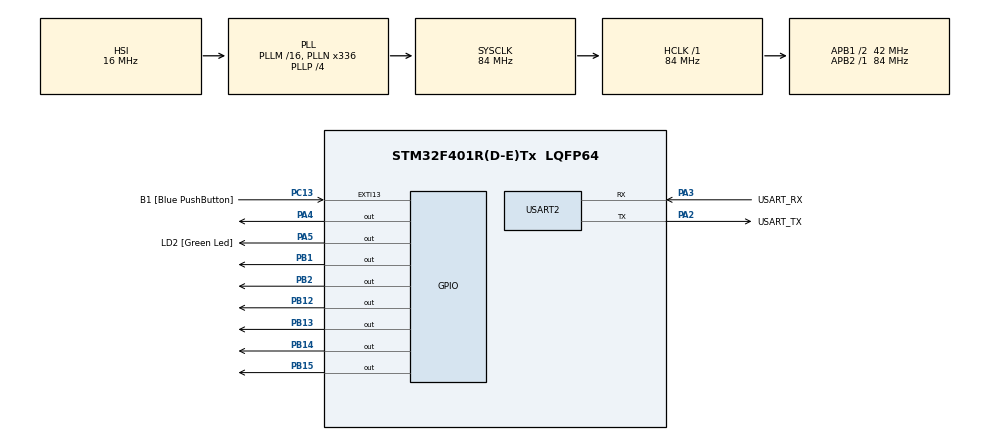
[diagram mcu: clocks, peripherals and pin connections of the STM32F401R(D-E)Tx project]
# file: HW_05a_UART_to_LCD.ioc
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Mcu.Family=STM32F4
Mcu.Name=STM32F401R(D-E)Tx
Mcu.Package=LQFP64
NVIC.PriorityGroup=NVIC_PRIORITYGROUP_0
NVIC.USART2_IRQn=true\:0\:0\:false\:false\:true\:true\:true\:true
PA13.GPIO_Label=TMS
PA13.Mode=Serial_Wire
PA13.Signal=SYS_JTMS-SWDIO
PA14.GPIO_Label=TCK
PA14.Mode=Serial_Wire
PA14.Signal=SYS_JTCK-SWCLK
PA2.GPIO_Label=USART_TX
PA2.GPIO_Mode=GPIO_MODE_AF_PP
PA2.GPIO_PuPd=GPIO_NOPULL
PA2.GPIO_Speed=GPIO_SPEED_FREQ_LOW
PA2.Mode=Asynchronous
PA2.Signal=USART2_TX
PA3.GPIO_Label=USART_RX
PA3.GPIO_Mode=GPIO_MODE_AF_PP
PA3.GPIO_PuPd=GPIO_NOPULL
PA3.GPIO_Speed=GPIO_SPEED_FREQ_LOW
PA3.Mode=Asynchronous
PA3.Signal=USART2_RX
PA4.Signal=GPIO_Output
PA5.GPIO_Label=LD2 [Green Led]
PA5.GPIO_Mode=GPIO_MODE_OUTPUT_PP
PA5.GPIO_PuPd=GPIO_NOPULL
PA5.GPIO_Speed=GPIO_SPEED_FREQ_LOW
PA5.Signal=GPIO_Output
PB1.Signal=GPIO_Output
PB12.Signal=GPIO_Output
PB13.Signal=GPIO_Output
PB14.Signal=GPIO_Output
PB15.Signal=GPIO_Output
PB2.Signal=GPIO_Output
PB3.GPIO_Label=SWO
PB3.Signal=SYS_JTDO-SWO
PC13-ANTI_TAMP.GPIO_Label=B1 [Blue PushButton]
PC13-ANTI_TAMP.GPIO_ModeDefaultEXTI=GPIO_MODE_IT_FALLING
PC13-ANTI_TAMP.GPIO_PuPd=GPIO_NOPULL
PC13-ANTI_TAMP.Signal=GPXTI13
PC14-OSC32_IN.Mode=LSE-External-Oscillator
PC14-OSC32_IN.Signal=RCC_OSC32_IN
PC15-OSC32_OUT.Mode=LSE-External-Oscillator
PC15-OSC32_OUT.Signal=RCC_OSC32_OUT
PH0\ -\ OSC_IN.Mode=HSE-External-Clock-Source
PH0\ -\ OSC_IN.Signal=RCC_OSC_IN
PH1\ -\ OSC_OUT.Mode=HSE-External-Clock-Source
PH1\ -\ OSC_OUT.Signal=RCC_OSC_OUT
ProjectManager.HeapSize=0x200
ProjectManager.StackSize=0x400
ProjectManager.TargetToolchain=STM32CubeIDE
RCC.48MHZClocksFreq_Value=48000000
RCC.AHBFreq_Value=84000000
RCC.APB1CLKDivider=RCC_HCLK_DIV2
RCC.APB1Freq_Value=42000000
RCC.APB1TimFreq_Value=84000000
RCC.APB2Freq_Value=84000000
RCC.APB2TimFreq_Value=84000000
RCC.CortexFreq_Value=84000000
RCC.HCLKFreq_Value=84000000
RCC.HSE_VALUE=8000000
RCC.HSI_VALUE=16000000
RCC.PLLN=336
RCC.PLLP=RCC_PLLP_DIV4
RCC.PLLQ=7
RCC.SYSCLKFreq_VALUE=84000000
RCC.SYSCLKSource=RCC_SYSCLKSOURCE_PLLCLK
RCC.VCOOutputFreq_Value=336000000
USART2.VirtualMode=VM_ASYNC
board=NUCLEO-F401RE

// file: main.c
/* USER CODE BEGIN Header */
/**
  ******************************************************************************
  * @file           : main.c
  * @brief          : Main program body
  ******************************************************************************
  * @attention
  *
  * Copyright (c) 2024 STMicroelectronics.
  * All rights reserved.
  *
  * This software is licensed under terms that can be found in the LICENSE file
  * in the root directory of this software component.
  * If no LICENSE file comes with this software, it is provided AS-IS.
  *
  ******************************************************************************
  */
/* USER CODE END Header */
#include "main.h"

/* USER CODE BEGIN Includes */
#include "PMDB16_LCD.h"
#include "string.h"

/* USER CODE END Includes */

/* USER CODE BEGIN PD */
#define STR_LEN_MAX 17
/* USER CODE END PD */

UART_HandleTypeDef huart2;

/* USER CODE BEGIN PV */
char curr_c = '\0';
char string_rx[STR_LEN_MAX]= "\0";
int i = 0;
/* USER CODE END PV */

void SystemClock_Config(void);
static void MX_GPIO_Init(void);
static void MX_USART2_UART_Init(void);

/* USER CODE BEGIN 0 */
void HAL_UART_RxCpltCallback (UART_HandleTypeDef *huart){
	if (huart == &huart2){
		string_rx[i] = curr_c;
		if (curr_c == '\n'){
			string_rx[i]= '\0';
			lcd_println(string_rx, 0);
			i=0;
		}else{
			i++;
		}
		HAL_UART_Receive_IT(&huart2, &curr_c, 1);
	}
}
/* USER CODE END 0 */

int main(void)
{

  /* MCU Configuration--------------------------------------------------------*/

  /* Reset of all peripherals, Initializes the Flash interface and the Systick. */
  HAL_Init();

  /* Configure the system clock */
  SystemClock_Config();

  /* Initialize all configured peripherals */
  MX_GPIO_Init();
  MX_USART2_UART_Init();
  /* USER CODE BEGIN 2 */
  lcd_initialize();
  lcd_backlight_ON();
  lcd_clear();

  HAL_UART_Receive_IT(&huart2, &curr_c, 1);

  /* USER CODE END 2 */

  /* Infinite loop */
  while (1)
  {

  }
}

void SystemClock_Config(void)
{
  RCC_OscInitTypeDef RCC_OscInitStruct = {0};
  RCC_ClkInitTypeDef RCC_ClkInitStruct = {0};

  /** Configure the main internal regulator output voltage
  */
  __HAL_RCC_PWR_CLK_ENABLE();
  __HAL_PWR_VOLTAGESCALING_CONFIG(PWR_REGULATOR_VOLTAGE_SCALE2);

  /** Initializes the RCC Oscillators according to the specified parameters
  * in the RCC_OscInitTypeDef structure.
  */
  RCC_OscInitStruct.OscillatorType = RCC_OSCILLATORTYPE_HSI;
  RCC_OscInitStruct.HSIState = RCC_HSI_ON;
  RCC_OscInitStruct.HSICalibrationValue = RCC_HSICALIBRATION_DEFAULT;
  RCC_OscInitStruct.PLL.PLLState = RCC_PLL_ON;
  RCC_OscInitStruct.PLL.PLLSource = RCC_PLLSOURCE_HSI;
  RCC_OscInitStruct.PLL.PLLM = 16;
  RCC_OscInitStruct.PLL.PLLN = 336;
  RCC_OscInitStruct.PLL.PLLP = RCC_PLLP_DIV4;
  RCC_OscInitStruct.PLL.PLLQ = 7;
  if (HAL_RCC_OscConfig(&RCC_OscInitStruct) != HAL_OK)
  {
    Error_Handler();
  }

  /** Initializes the CPU, AHB and APB buses clocks
  */
  RCC_ClkInitStruct.ClockType = RCC_CLOCKTYPE_HCLK|RCC_CLOCKTYPE_SYSCLK
                              |RCC_CLOCKTYPE_PCLK1|RCC_CLOCKTYPE_PCLK2;
  RCC_ClkInitStruct.SYSCLKSource = RCC_SYSCLKSOURCE_PLLCLK;
  RCC_ClkInitStruct.AHBCLKDivider = RCC_SYSCLK_DIV1;
  RCC_ClkInitStruct.APB1CLKDivider = RCC_HCLK_DIV2;
  RCC_ClkInitStruct.APB2CLKDivider = RCC_HCLK_DIV1;

  if (HAL_RCC_ClockConfig(&RCC_ClkInitStruct, FLASH_LATENCY_2) != HAL_OK)
  {
    Error_Handler();
  }
}

static void MX_USART2_UART_Init(void)
{

  huart2.Instance = USART2;
  huart2.Init.BaudRate = 115200;
  huart2.Init.WordLength = UART_WORDLENGTH_8B;
  huart2.Init.StopBits = UART_STOPBITS_1;
  huart2.Init.Parity = UART_PARITY_NONE;
  huart2.Init.Mode = UART_MODE_TX_RX;
  huart2.Init.HwFlowCtl = UART_HWCONTROL_NONE;
  huart2.Init.OverSampling = UART_OVERSAMPLING_16;
  if (HAL_UART_Init(&huart2) != HAL_OK)
  {
    Error_Handler();
  }

}

static void MX_GPIO_Init(void)
{
  GPIO_InitTypeDef GPIO_InitStruct = {0};

  /* GPIO Ports Clock Enable */
  __HAL_RCC_GPIOC_CLK_ENABLE();
  __HAL_RCC_GPIOH_CLK_ENABLE();
  __HAL_RCC_GPIOA_CLK_ENABLE();
  __HAL_RCC_GPIOB_CLK_ENABLE();

  /*Configure GPIO pin Output Level */
  HAL_GPIO_WritePin(GPIOA, GPIO_PIN_4|LD2_Pin, GPIO_PIN_RESET);

  /*Configure GPIO pin Output Level */
  HAL_GPIO_WritePin(GPIOB, GPIO_PIN_1|GPIO_PIN_2|GPIO_PIN_12|GPIO_PIN_13
                          |GPIO_PIN_14|GPIO_PIN_15, GPIO_PIN_RESET);

  /*Configure GPIO pin : B1_Pin */
  GPIO_InitStruct.Pin = B1_Pin;
  GPIO_InitStruct.Mode = GPIO_MODE_IT_FALLING;
  GPIO_InitStruct.Pull = GPIO_NOPULL;
  HAL_GPIO_Init(B1_GPIO_Port, &GPIO_InitStruct);

  /*Configure GPIO pins : PA4 LD2_Pin */
  GPIO_InitStruct.Pin = GPIO_PIN_4|LD2_Pin;
  GPIO_InitStruct.Mode = GPIO_MODE_OUTPUT_PP;
  GPIO_InitStruct.Pull = GPIO_NOPULL;
  GPIO_InitStruct.Speed = GPIO_SPEED_FREQ_LOW;
  HAL_GPIO_Init(GPIOA, &GPIO_InitStruct);

  /*Configure GPIO pins : PB1 PB2 PB12 PB13
                           PB14 PB15 */
  GPIO_InitStruct.Pin = GPIO_PIN_1|GPIO_PIN_2|GPIO_PIN_12|GPIO_PIN_13
                          |GPIO_PIN_14|GPIO_PIN_15;
  GPIO_InitStruct.Mode = GPIO_MODE_OUTPUT_PP;
  GPIO_InitStruct.Pull = GPIO_NOPULL;
  GPIO_InitStruct.Speed = GPIO_SPEED_FREQ_LOW;
  HAL_GPIO_Init(GPIOB, &GPIO_InitStruct);

}

void Error_Handler(void)
{
  __disable_irq();
  while (1)
  {
  }
}
